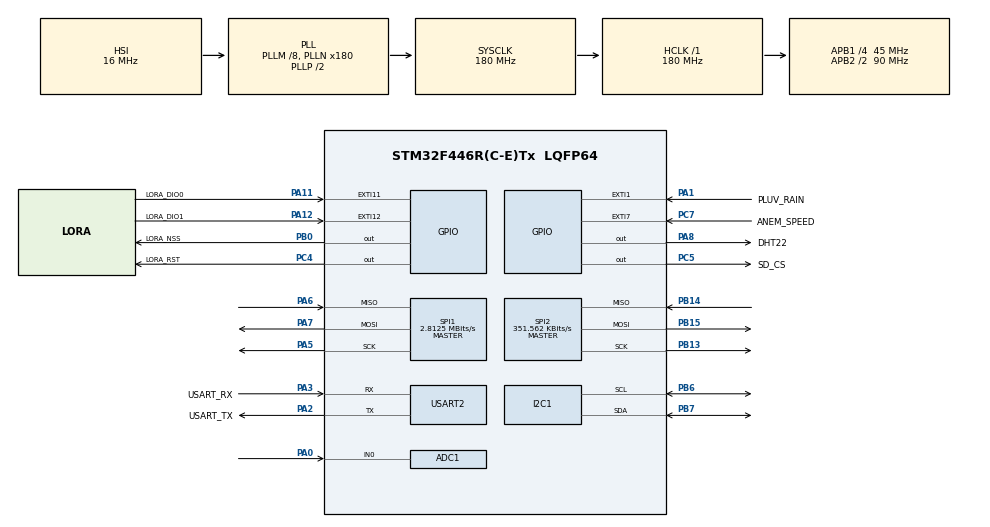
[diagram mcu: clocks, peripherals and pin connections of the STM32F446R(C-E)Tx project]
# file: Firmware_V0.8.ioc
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ADC1.Channel-0\#ChannelRegularConversion=ADC_CHANNEL_0
ADC1.NbrOfConversionFlag=1
ADC1.Rank-0\#ChannelRegularConversion=1
ADC1.SamplingTime-0\#ChannelRegularConversion=ADC_SAMPLETIME_144CYCLES
ADC1.master=1
Dma.Request0=SPI1_RX
Dma.Request1=SPI1_TX
Dma.SPI1_RX.0.Direction=DMA_PERIPH_TO_MEMORY
Dma.SPI1_RX.0.FIFOMode=DMA_FIFOMODE_DISABLE
Dma.SPI1_RX.0.Instance=DMA2_Stream0
Dma.SPI1_RX.0.MemDataAlignment=DMA_MDATAALIGN_BYTE
Dma.SPI1_RX.0.MemInc=DMA_MINC_ENABLE
Dma.SPI1_RX.0.Mode=DMA_NORMAL
Dma.SPI1_RX.0.PeriphDataAlignment=DMA_PDATAALIGN_BYTE
Dma.SPI1_RX.0.PeriphInc=DMA_PINC_DISABLE
Dma.SPI1_RX.0.Priority=DMA_PRIORITY_MEDIUM
Dma.SPI1_TX.1.Direction=DMA_MEMORY_TO_PERIPH
Dma.SPI1_TX.1.FIFOMode=DMA_FIFOMODE_DISABLE
Dma.SPI1_TX.1.Instance=DMA2_Stream3
Dma.SPI1_TX.1.MemDataAlignment=DMA_MDATAALIGN_BYTE
Dma.SPI1_TX.1.MemInc=DMA_MINC_ENABLE
Dma.SPI1_TX.1.Mode=DMA_NORMAL
Dma.SPI1_TX.1.PeriphDataAlignment=DMA_PDATAALIGN_BYTE
Dma.SPI1_TX.1.PeriphInc=DMA_PINC_DISABLE
Dma.SPI1_TX.1.Priority=DMA_PRIORITY_MEDIUM
FATFS._USE_LABEL=1
FATFS._USE_LFN=1
I2C1.I2C_Mode=I2C_Fast
Mcu.Family=STM32F4
Mcu.Name=STM32F446R(C-E)Tx
Mcu.Package=LQFP64
NVIC.DMA2_Stream0_IRQn=true\:2\:0\:true\:false\:true\:false\:true\:true
NVIC.DMA2_Stream3_IRQn=true\:2\:0\:true\:false\:true\:false\:true\:true
NVIC.EXTI15_10_IRQn=true\:2\:0\:false\:false\:true\:true\:true\:true
NVIC.EXTI1_IRQn=true\:1\:0\:true\:false\:true\:true\:true\:true
NVIC.EXTI9_5_IRQn=true\:1\:0\:true\:false\:true\:true\:true\:true
NVIC.PriorityGroup=NVIC_PRIORITYGROUP_4
NVIC.TIM6_DAC_IRQn=true\:0\:0\:true\:false\:true\:true\:true\:true
PA0-WKUP.Signal=ADCx_IN0
PA1.GPIO_Label=PLUV_RAIN
PA1.GPIO_ModeDefaultEXTI=GPIO_MODE_IT_FALLING
PA1.GPIO_PuPd=GPIO_PULLUP
PA1.Signal=GPXTI1
PA11.GPIO_Label=LORA_DIO0
PA11.Signal=GPXTI11
PA12.GPIO_Label=LORA_DIO1
PA12.Signal=GPXTI12
PA13.GPIO_Label=TMS
PA13.Mode=Serial_Wire
PA13.Signal=SYS_JTMS-SWDIO
PA14.GPIO_Label=TCK
PA14.Mode=Serial_Wire
PA14.Signal=SYS_JTCK-SWCLK
PA2.GPIO_Label=USART_TX
PA2.Mode=Asynchronous
PA2.Signal=USART2_TX
PA3.GPIO_Label=USART_RX
PA3.Mode=Asynchronous
PA3.Signal=USART2_RX
PA5.Mode=Full_Duplex_Master
PA5.Signal=SPI1_SCK
PA6.Mode=Full_Duplex_Master
PA6.Signal=SPI1_MISO
PA7.Mode=Full_Duplex_Master
PA7.Signal=SPI1_MOSI
PA8.GPIO_Label=DHT22
PA8.GPIO_Speed=GPIO_SPEED_FREQ_HIGH
PA8.PinState=GPIO_PIN_SET
PA8.Signal=GPIO_Output
PB0.GPIO_Label=LORA_NSS
PB0.GPIO_Speed=GPIO_SPEED_FREQ_VERY_HIGH
PB0.PinState=GPIO_PIN_SET
PB0.Signal=GPIO_Output
PB13.Mode=Full_Duplex_Master
PB13.Signal=SPI2_SCK
PB14.Mode=Full_Duplex_Master
PB14.Signal=SPI2_MISO
PB15.Mode=Full_Duplex_Master
PB15.Signal=SPI2_MOSI
PB3.GPIO_Label=SWO
PB3.Signal=SYS_JTDO-SWO
PB6.Mode=I2C
PB6.Signal=I2C1_SCL
PB7.Mode=I2C
PB7.Signal=I2C1_SDA
PC14-OSC32_IN.Mode=LSE-External-Oscillator
PC14-OSC32_IN.Signal=RCC_OSC32_IN
PC15-OSC32_OUT.Mode=LSE-External-Oscillator
PC15-OSC32_OUT.Signal=RCC_OSC32_OUT
PC4.GPIO_Label=LORA_RST
PC4.PinState=GPIO_PIN_SET
PC4.Signal=GPIO_Output
PC5.GPIO_Label=SD_CS
PC5.PinState=GPIO_PIN_SET
PC5.Signal=GPIO_Output
PC7.GPIO_Label=ANEM_SPEED
PC7.GPIO_ModeDefaultEXTI=GPIO_MODE_IT_FALLING
PC7.GPIO_PuPd=GPIO_PULLUP
PC7.Signal=GPXTI7
PH0-OSC_IN.Mode=HSE-External-Oscillator
PH0-OSC_IN.Signal=RCC_OSC_IN
PH1-OSC_OUT.Mode=HSE-External-Oscillator
PH1-OSC_OUT.Signal=RCC_OSC_OUT
ProjectManager.HeapSize=0x200
ProjectManager.StackSize=0x400
ProjectManager.TargetToolchain=STM32CubeIDE
RCC.48MHZClocksFreq_Value=84000000
RCC.AHBFreq_Value=180000000
RCC.APB1CLKDivider=RCC_HCLK_DIV4
RCC.APB1Freq_Value=45000000
RCC.APB1TimFreq_Value=90000000
RCC.APB2CLKDivider=RCC_HCLK_DIV2
RCC.APB2Freq_Value=90000000
RCC.APB2TimFreq_Value=180000000
RCC.CortexFreq_Value=180000000
RCC.FLatency-AdvancedSettings=FLASH_LATENCY_5
RCC.HCLKFreq_Value=180000000
RCC.HSE_VALUE=8000000
RCC.HSI_VALUE=16000000
RCC.PLLM=8
RCC.PLLN=180
RCC.SYSCLKFreq_VALUE=180000000
RCC.SYSCLKSource=RCC_SYSCLKSOURCE_PLLCLK
RCC.USBFreq_Value=180000000
RCC.VCOOutputFreq_Value=360000000
SH.ADCx_IN0.0=ADC1_IN0,IN0
SPI1.BaudRatePrescaler=SPI_BAUDRATEPRESCALER_32
SPI1.CalculateBaudRate=2.8125 MBits/s
SPI1.Direction=SPI_DIRECTION_2LINES
SPI1.Mode=SPI_MODE_MASTER
SPI1.VirtualType=VM_MASTER
SPI2.BaudRatePrescaler=SPI_BAUDRATEPRESCALER_128
SPI2.CalculateBaudRate=351.562 KBits/s
SPI2.Direction=SPI_DIRECTION_2LINES
SPI2.Mode=SPI_MODE_MASTER
SPI2.VirtualType=VM_MASTER
TIM10.Prescaler=180-1
TIM6.AutoReloadPreload=TIM_AUTORELOAD_PRELOAD_ENABLE
TIM6.Period=9999
TIM6.Prescaler=8999
USART2.VirtualMode=VM_ASYNC
VP_FATFS_VS_Generic.Mode=User_defined
VP_TIM10_VS_ClockSourceINT.Mode=Enable_Timer
VP_TIM6_VS_ClockSourceINT.Mode=Enable_Timer
board=NUCLEO-F446RE

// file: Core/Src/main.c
/* USER CODE BEGIN Header */
/**
  ******************************************************************************
  * @file           : main.c
  * @brief          : Main program body
  ******************************************************************************
  * @attention
  *
  * Copyright (c) 2026 STMicroelectronics.
  * All rights reserved.
  *
  * This software is licensed under terms that can be found in the LICENSE file
  * in the root directory of this software component.
  * If no LICENSE file comes with this software, it is provided AS-IS.
  *
  ******************************************************************************
  */
/* USER CODE END Header */
#include "main.h"
#include "fatfs.h"

/* USER CODE BEGIN Includes */
#include <stdio.h>
#include <string.h>   // Necessário para manipulação de strings (strcpy, etc.)
#include "dht22.h"
#include "bmp280.h"
#include "bh1750.h"
#include "anemometer.h"
#include "pluviometer.h"
#include "wind_vane.h"
#include "storage.h"
#include "sd_spi.h"
#include "lora_sx1276.h"
#include "lora_payload.h"
#include "station_sample.h"

extern UART_HandleTypeDef huart2;

#ifdef __GNUC__
#define PUTCHAR_PROTOTYPE int __io_putchar(int ch)
#else
#define PUTCHAR_PROTOTYPE int fputc(int ch, FILE *f)
#endif

PUTCHAR_PROTOTYPE
{
  HAL_UART_Transmit(&huart2, (uint8_t *)&ch, 1, HAL_MAX_DELAY);
  return ch;
}
/* USER CODE END Includes */

ADC_HandleTypeDef hadc1;

I2C_HandleTypeDef hi2c1;

SPI_HandleTypeDef hspi1;
SPI_HandleTypeDef hspi2;
DMA_HandleTypeDef hdma_spi1_rx;
DMA_HandleTypeDef hdma_spi1_tx;

TIM_HandleTypeDef htim6;
TIM_HandleTypeDef htim10;

UART_HandleTypeDef huart2;

/* USER CODE BEGIN PV */

/* Variáveis para armazenar as leituras (ajuste os nomes se no seu código original estiverem diferentes) */
DHT22_Handle_t dht22;
BMP280_Handle_t bmp280;
BH1750_Handle_t bh1750;

uint32_t last_dht_ms = 0;

volatile uint32_t dbg_anem_exti_hits = 0;
volatile uint32_t dbg_anem_tim_hits  = 0;

/* --- NOVAS Variáveis para a Biruta --- */
wind_vane_config_t vane_cfg;
uint16_t wind_direction_deg = 0;
char wind_direction_label[8]; // Array para guardar os textos "N", "L", "S", "O"

/* Garante o acesso ao handle do ADC configurado pelo CubeMX */
extern ADC_HandleTypeDef hadc1;

static uint16_t lora_seq = 0u;

static bool acquisition_pending = false;
static uint32_t acquisition_start_ms = 0;
static SensorHealth sensor_health[SENSOR_COUNT];
static HAL_StatusTypeDef vane_status = HAL_ERROR;
static bool adc_initialized = false;
static uint8_t last_wire_overflow = 0;

static DHT22_Status_t last_dht_status;
static BMP280_Status_t last_bmp_status;
static BH1750_Status_t last_bh_status;

static Anemometer_Data_t last_dados_vento = {0};
static Pluviometer_Data_t last_dados_chuva = {0};

/* USER CODE END PV */

void SystemClock_Config(void);
static void MX_GPIO_Init(void);
static void MX_DMA_Init(void);
static void MX_I2C1_Init(void);
static void MX_TIM10_Init(void);
static void MX_USART2_UART_Init(void);
static void MX_TIM6_Init(void);
static void MX_ADC1_Init(void);
static void MX_SPI1_Init(void);
static void MX_SPI2_Init(void);

/* USER CODE BEGIN 0 */
/**
 * @brief LUT customizada para 4 posições — valores CALCULADOS.
 *
 * Reed  | Vout calc | ADC central | Direção atribuída
 * 560Ω  |  2,115 V  |    2627     | Norte   (0°)
 * 2kΩ   |  1,100 V  |    1365     | Leste   (90°)
 * 5kΩ   |  0,550 V  |     683     | Sul     (180°)
 * 10kΩ  |  0,300 V  |     373     | Oeste   (270°)

static const WindVaneLUT_t s_vane_lut[4u] = {
    // adc_min, adc_max, degrees, label
    {   2200u,   3000u,    0u, "N" },
    {   1265u,   1465u,   90u, "L" },
    {    583u,    783u,  180u, "S" },
    {    273u,    473u,  270u, "O" }
};
*/

// @brief LUT customizada para 4 posições

static const WindVaneLUT_t s_vane_lut[16u] = {
  {   0u,  299u, 113u, "ESE" },
  { 300u,  354u,  68u, "ENE" },
  { 355u,  439u,  90u, "E"   },
  { 440u,  622u, 158u, "SSE" },
  { 623u,  859u, 135u, "SE"  },
  { 860u, 1064u, 203u, "SSW" },
  { 1065u, 1386u, 180u, "S"   },
  { 1387u, 1734u,  23u, "NNE" },
  { 1735u, 2121u,  45u, "NE"  },
  { 2122u, 2459u, 248u, "WSW" },
  { 2460u, 2665u, 225u, "SW"  },
  { 2666u, 2977u, 338u, "NNW" },
  { 2978u, 3226u,   0u, "N"   },
  { 3227u, 3429u, 293u, "WNW" },
  { 3430u, 3664u, 315u, "NW"  },
  { 3665u, 4095u, 270u, "W"   }
};

/**
 * @brief Desabilita a biruta quando a inicialização do ADC falha.
 *
 * Os demais subsistemas da estação permanecem disponíveis. A leitura da
 * biruta será marcada como indisponível por App_WindVane_Init().
 */
static void appRegistrarFalhaAdc(void)
{
    adc_initialized = false;
    vane_status = HAL_ERROR;
}

static void App_WindVane_Init(void)
{
    vane_cfg.hadc               = &hadc1;
    vane_cfg.channel            = ADC_CHANNEL_0;
    vane_cfg.sampling_time      = ADC_SAMPLETIME_144CYCLES;
    vane_cfg.num_samples        = 8u;
    vane_cfg.sample_interval_ms = 5u;
    vane_cfg.north_offset_deg   = 0;
    vane_cfg.lut                = s_vane_lut; // ou WIND_VANE_DEFAULT_LUT para a definida no driver
    //vane_cfg.lut_size           = 4u;
    vane_cfg.lut_size           = 16u;

    vane_status = adc_initialized ? Wind_Vane_Init(&vane_cfg) : HAL_ERROR;
    printf("[BIRUTA] %s\r\n", vane_status == HAL_OK ? "ADC configurado; aguardando leitura" : "Falha de inicializacao do ADC");
}

static SensorReason App_DhtReason(DHT22_Status_t status)
{
    switch (status) {
        case DHT22_OK: return SENSOR_OK;
        case DHT22_ERR_TIMEOUT: return SENSOR_TIMEOUT;
        case DHT22_ERR_CHECKSUM: return SENSOR_CHECKSUM;
        case DHT22_ERR_TIMER: return SENSOR_TIMER;
        default: return SENSOR_RANGE;
    }
}
static SensorReason App_BmpReason(BMP280_Status_t status)
{
    switch (status) {
        case BMP280_OK: return SENSOR_OK;
        case BMP280_ERR_BUSY: return SENSOR_TIMEOUT;
        case BMP280_ERR_CONFIG: return SENSOR_CONFIG;
        case BMP280_ERR_CALIBRATION: return SENSOR_CALIBRATION;
        case BMP280_ERR_RANGE: return SENSOR_RANGE;
        default: return SENSOR_IO;
    }
}
static SensorReason App_BhReason(BH1750_Status_t status)
{
    switch (status) {
        case BH1750_OK: return SENSOR_OK;
        case BH1750_ERR_NOT_RDY: return SENSOR_TIMEOUT;
        case BH1750_ERR_CONFIG: return SENSOR_CONFIG;
        case BH1750_ERR_SATURATED: return SENSOR_SATURATED;
        case BH1750_ERR_RANGE: return SENSOR_RANGE;
        default: return SENSOR_IO;
    }
}
static float App_Value(const StationSample *s, SensorId id, float value)
{
    return s->reason[id] == SENSOR_OK ? value : -999.0f;
}
static void App_FinishAcquisition(uint32_t now, HAL_StatusTypeDef wind_status)
{
    StationSample sample = {
        .timestamp_ms = acquisition_start_ms,
        .reason = {
            App_DhtReason(last_dht_status), App_BmpReason(last_bmp_status),
            App_BhReason(last_bh_status),
            vane_status == HAL_OK ? SENSOR_OK : (vane_status == HAL_TIMEOUT ? SENSOR_TIMEOUT : SENSOR_IO),
            last_dados_vento.valid ? SENSOR_OK : (wind_status == HAL_TIMEOUT ? SENSOR_TIMEOUT : SENSOR_TIMER),
            last_dados_chuva.valid ? SENSOR_OK : SENSOR_RANGE
        },
        .temperature = dht22.temperature, .humidity = dht22.humidity,
        .pressure = bmp280.pressure, .bmp_temperature = bmp280.temperature, .altitude = bmp280.altitude,
        .illuminance = bh1750.illuminance, .irradiance = bh1750.irradiance,
        .wind_speed = last_dados_vento.speed_ms, .wind_dir_deg = wind_direction_deg,
        .rain_mm = last_dados_chuva.rain_mm
    };
    StationSample_Validate(&sample);
    FRESULT sd_result = FR_OK;
    for (unsigned i = 0; i < SENSOR_COUNT; ++i) {
        SensorHealth *h = &sensor_health[i];
        HealthEvent event = SensorHealth_Update(h, sample.reason[i], now);
        if (event == HEALTH_NONE) continue;
        printf("[SAUDE] %s %s | motivo=%s | falhas=%u | tem_ultima=%u | idade_ms=%lu\r\n",
            Sensor_Name((SensorId)i), Sensor_Event(event), Sensor_Reason(h->reason),
            h->consecutive_failures, h->has_valid,
            (unsigned long)(h->has_valid ? now - h->last_valid_ms : 0));
        if (Storage_IsReady()) {
            FRESULT res = Storage_AppendSensorHealth(now, (SensorId)i, h, event);
            if (res != FR_OK) sd_result = res;
        }
    }
    if (sample.reason[SENSOR_BMP] == SENSOR_IO && sample.reason[SENSOR_BH] == SENSOR_IO &&
        (sensor_health[SENSOR_BMP].consecutive_failures == 1 || sensor_health[SENSOR_BH].consecutive_failures == 1))
        printf("[I2C1] BMP280 e BH1750 falharam: verificar tambem barramento/alimentacao comuns.\r\n");

    SensorSample_t sd_sample = {
        .timestamp_ms = sample.timestamp_ms,
        .temperature = App_Value(&sample, SENSOR_DHT, sample.temperature),
        .humidity = App_Value(&sample, SENSOR_DHT, sample.humidity),
        .pressure = App_Value(&sample, SENSOR_BMP, sample.pressure),
        .irradiance = App_Value(&sample, SENSOR_BH, sample.irradiance),
        .wind_speed = App_Value(&sample, SENSOR_ANEM, sample.wind_speed),
        .wind_dir_deg = App_Value(&sample, SENSOR_VANE, sample.wind_dir_deg),
        .rain_mm = App_Value(&sample, SENSOR_RAIN, sample.rain_mm)
    };
    if (Storage_IsReady()) {
        FRESULT res = Storage_AppendSample(&sd_sample);
        if (res != FR_OK) sd_result = res;
    }
    LoRaPayload_t packet;
    uint8_t overflow = StationSample_Payload(&sample, lora_seq++, &packet);
    if (overflow != last_wire_overflow) {
        printf("[LORA] Limite do pacote legado: mascara=%02X. Campos sem representacao usam sentinela; dados locais preservados.\r\n", overflow);
        last_wire_overflow = overflow;
    }
    bool tx_ok = SX1276_Transmit((const uint8_t *)&packet, sizeof(packet));
    printf("[LORA] %s | seq=%u | len=%u | motivo=%s\r\n",
        tx_ok ? "TX concluida pelo radio" : "Falha local", packet.seq,
        (unsigned)sizeof(packet), SX1276_LastError());
    printf("\r\n===== DADOS DA ESTACAO | t=%lu ms =====\r\n", (unsigned long)sample.timestamp_ms);
    if (sample.reason[SENSOR_DHT] == SENSOR_OK)
        printf("Temp: %.1f C | Umid: %.1f %%\r\n", sample.temperature, sample.humidity);
    else printf("Temp/Umid: indisponiveis\r\n");
    if (sample.reason[SENSOR_BMP] == SENSOR_OK)
        printf("Pres: %.1f hPa | Alt: %.1f m\r\n", sample.pressure, sample.altitude);
    else printf("Pressao/Altitude: indisponiveis\r\n");
    if (sample.reason[SENSOR_BH] == SENSOR_OK)
        printf("Ilum: %.1f lux | Irrad: %.2f W/m2\r\n", sample.illuminance, sample.irradiance);
    else printf("Iluminancia/Irradiancia: indisponiveis\r\n");
    if (sample.reason[SENSOR_ANEM] == SENSOR_OK)
        printf("Vento: %.2f m/s\r\n", sample.wind_speed);
    else printf("Velocidade do vento: indisponivel\r\n");
    if (sample.reason[SENSOR_VANE] == SENSOR_OK) {
        Wind_Vane_GetLabel(sample.wind_dir_deg, wind_direction_label, sizeof(wind_direction_label));
        printf("Direcao: %s (%u graus)\r\n", wind_direction_label, sample.wind_dir_deg);
    } else printf("Direcao: indisponivel\r\n");
    if (sample.reason[SENSOR_RAIN] == SENSOR_OK) printf("Chuva acumulada: %.2f mm\r\n", sample.rain_mm);
    else printf("Chuva acumulada: indisponivel\r\n");
    uint32_t accepted, rejected, last_pulse, rain_rejected, last_tip;
    anemometer_get_diagnostics(&accepted, &rejected, &last_pulse);
    pluviometer_get_diagnostics(&rain_rejected, &last_tip);
    printf("[PULSOS] Vento janela: aceitos=%lu rejeitados=%lu ultimo_ms=%lu | Chuva total: aceitos=%lu rejeitados=%lu ultimo_ms=%lu\r\n",
        (unsigned long)accepted, (unsigned long)rejected, (unsigned long)last_pulse,
        (unsigned long)last_dados_chuva.tip_count, (unsigned long)rain_rejected, (unsigned long)last_tip);
    printf("SD: %s (erro=%d)\r\n", Storage_IsReady() ? (sd_result == FR_OK ? "OK" : "ERRO") : "INDISPONIVEL",
        (int)(Storage_IsReady() ? sd_result : Storage_GetLastError()));
    printf("==========================================\r\n");
}

/* USER CODE END 0 */

int main(void)
{

  /* MCU Configuration--------------------------------------------------------*/

  /* Reset of all peripherals, Initializes the Flash interface and the Systick. */
  HAL_Init();

  /* Configure the system clock */
  SystemClock_Config();

  /* Initialize all configured peripherals */
  MX_GPIO_Init();
  MX_DMA_Init();
  MX_I2C1_Init();
  MX_TIM10_Init();
  MX_USART2_UART_Init();
  MX_TIM6_Init();
  MX_ADC1_Init();
  MX_SPI1_Init();
  MX_FATFS_Init();
  MX_SPI2_Init();
  /* USER CODE BEGIN 2 */
  /*
  * MUDANÇAS em relação à versão anterior:
   *  1. SD_Deselect() inicializa apenas o CS do SD — correto.
   *  2. LORA_NSS é posto em HIGH explicitamente antes de qualquer
   *     chamada LoRa (boa prática, evita NSS flutuante no boot).
   *  3. Ordem de chamada: MX_SPI2_Init() já foi chamado antes
   *     (pelo CubeMX em main), então hspi2 está pronto aqui.
   *  4. Diagnóstico estendido: se 0xFF → imprime dica de hardware.
   * ============================================================ */

  /* ── Estado inicial dos barramentos ──────────────────────────────────────
   * SPI1 (SD)  : CS = HIGH (SD_Deselect)
   * SPI2 (LoRa): NSS = HIGH (escrita direta no pino)
   * Garante que nenhum periférico está selecionado durante o boot.
   */
  /* Estado inicial dos barramentos */
  SD_Deselect();
  HAL_GPIO_WritePin(LORA_NSS_GPIO_Port, LORA_NSS_Pin, GPIO_PIN_SET);

  /* ── Verificação do chip ────────────────────────────────────────────────── */
  uint8_t lora_version = 0x00u;

  SX1276_Reset(); /* Reset somente no boot. Sondagens posteriores nao resetam. */
  if (!SX1276_CheckVersion(&lora_version))
  {
      printf("[LORA] FALHA. RegVersion = 0x%02X\r\n", lora_version);
      if (lora_version == 0xFFu)
          printf("[LORA] DICA: 0xFF pode indicar MISO em pull-up ou SPI aberto.\r\n");
  }
  else
  {
      printf("[LORA] SX1276 OK. RegVersion = 0x%02X\r\n", lora_version);

      SX1276_Config_t lora_cfg = SX1276_DEFAULT_CONFIG;
      bool lora_init_ok = SX1276_Init(&lora_cfg);

      if (lora_init_ok)
          printf("[LORA] Init OK. Pronto para TX.\r\n");
      else
          printf("[LORA] Init FALHOU: %s. Reiniciar apos corrigir a causa.\r\n", SX1276_LastError());
  }

  /* ── Sensores ───────────────────────────────────────────────────────────── */
  printf("\r\n=== Inicializando sensores ===\r\n");

  HAL_StatusTypeDef dht_timer_status = HAL_TIM_Base_Start(&htim10);
  DHT22_Init(&dht22, DHT22_GPIO_Port, DHT22_Pin, &htim10);
  printf("[DHT22] %s\r\n", dht_timer_status == HAL_OK ? "Configurado; aguardando primeira leitura" : "Falha ao iniciar TIM10");

  BMP280_Config_t bmp_cfg = BMP280_DEFAULT_CONFIG;
  BMP280_Status_t bmp_st  = BMP280_Init(&bmp280, &hi2c1, BMP280_ADDR_SDO_LOW, &bmp_cfg);
  if (bmp_st == BMP280_OK) printf("[BMP280] OK - I2C1 0x76\r\n");
  else printf("[BMP280] FALHA: %s\r\n", BMP280_StatusStr(bmp_st));

  BH1750_Status_t bh_st = BH1750_Init(&bh1750, &hi2c1,
                                        BH1750_ADDR_LOW, BH1750_MODE_ONCE_H_RES);
  if (bh_st == BH1750_OK) printf("[BH1750] OK - I2C1 0x23\r\n");
  else printf("[BH1750] FALHA: %s\r\n", BH1750_StatusStr(bh_st));

  anemometer_init();
  printf("[ANEM] OK - EXTI PC7 + TIM6\r\n");

  pluviometer_init();
  printf("[PLUV] OK - EXTI PA1\r\n");

  App_WindVane_Init();
  printf("[DIAG] Zero pulsos e direcao constante nao comprovam conexao fisica.\r\n");

  (void)Storage_Init();
  if (Storage_IsReady())
      printf("[SD] OK - Cartao montado. Log em /logs/data.csv\r\n");
  else
      printf("[SD] AVISO - Cartao/SPI indisponivel. Sensores e LoRa continuam ativos.\r\n");

  last_dht_status = DHT22_ERR_TIMEOUT;
  last_bmp_status = bmp_st;
  last_bh_status  = bh_st;
  last_dht_ms     = HAL_GetTick();

  printf("Sistema Inicializado. A iniciar leituras...\r\n");
  /* USER CODE END 2 */

  /* Infinite loop */
  /* USER CODE BEGIN WHILE */
  while (1)
  {
      uint32_t now = HAL_GetTick();
      if (!acquisition_pending) Storage_Service(now);
      if (!acquisition_pending && (uint32_t)(now - last_dht_ms) >= 5000u) {
          acquisition_pending = true;
          acquisition_start_ms = now;
          /* Driver retains start errors for service(); no cycle is skipped. */
          (void)anemometer_start_sampling(&htim6);
          last_dht_status = DHT22_Read(&dht22);
          /* Init/configuration failures require a validated initialization.
           * Transient communication errors are retried on the next cycle. */
          if (bmp280.initialized) last_bmp_status = BMP280_Read(&bmp280);
          if (bh1750.initialized) last_bh_status = BH1750_Read(&bh1750);
          vane_status = Wind_Vane_Read(&wind_direction_deg);
      }
      if (acquisition_pending) {
          now = HAL_GetTick(); /* Sensor reads above include bounded waits. */
          HAL_StatusTypeDef wind_status = anemometer_service(&htim6, now);
          if (wind_status != HAL_BUSY) {
              anemometer_calculate(ANEM_SAMPLE_WINDOW_MS, &last_dados_vento);
              pluviometer_read(&last_dados_chuva);
              App_FinishAcquisition(now, wind_status);
              acquisition_pending = false;
              last_dht_ms = HAL_GetTick();
          }
      }

    /* USER CODE END WHILE */

  }
}

void SystemClock_Config(void)
{
  RCC_OscInitTypeDef RCC_OscInitStruct = {0};
  RCC_ClkInitTypeDef RCC_ClkInitStruct = {0};

  /** Configure the main internal regulator output voltage
  */
  __HAL_RCC_PWR_CLK_ENABLE();
  __HAL_PWR_VOLTAGESCALING_CONFIG(PWR_REGULATOR_VOLTAGE_SCALE1);

  /** Initializes the RCC Oscillators according to the specified parameters
  * in the RCC_OscInitTypeDef structure.
  */
  RCC_OscInitStruct.OscillatorType = RCC_OSCILLATORTYPE_HSI;
  RCC_OscInitStruct.HSIState = RCC_HSI_ON;
  RCC_OscInitStruct.HSICalibrationValue = RCC_HSICALIBRATION_DEFAULT;
  RCC_OscInitStruct.PLL.PLLState = RCC_PLL_ON;
  RCC_OscInitStruct.PLL.PLLSource = RCC_PLLSOURCE_HSI;
  RCC_OscInitStruct.PLL.PLLM = 8;
  RCC_OscInitStruct.PLL.PLLN = 180;
  RCC_OscInitStruct.PLL.PLLP = RCC_PLLP_DIV2;
  RCC_OscInitStruct.PLL.PLLQ = 2;
  RCC_OscInitStruct.PLL.PLLR = 2;
  if (HAL_RCC_OscConfig(&RCC_OscInitStruct) != HAL_OK)
  {
    Error_Handler();
  }

  /** Activate the Over-Drive mode
  */
  if (HAL_PWREx_EnableOverDrive() != HAL_OK)
  {
    Error_Handler();
  }

  /** Initializes the CPU, AHB and APB buses clocks
  */
  RCC_ClkInitStruct.ClockType = RCC_CLOCKTYPE_HCLK|RCC_CLOCKTYPE_SYSCLK
                              |RCC_CLOCKTYPE_PCLK1|RCC_CLOCKTYPE_PCLK2;
  RCC_ClkInitStruct.SYSCLKSource = RCC_SYSCLKSOURCE_PLLCLK;
  RCC_ClkInitStruct.AHBCLKDivider = RCC_SYSCLK_DIV1;
  RCC_ClkInitStruct.APB1CLKDivider = RCC_HCLK_DIV4;
  RCC_ClkInitStruct.APB2CLKDivider = RCC_HCLK_DIV2;

  if (HAL_RCC_ClockConfig(&RCC_ClkInitStruct, FLASH_LATENCY_5) != HAL_OK)
  {
    Error_Handler();
  }
}

static void MX_ADC1_Init(void)
{

  ADC_ChannelConfTypeDef sConfig = {0};

  /** Configure the global features of the ADC (Clock, Resolution, Data Alignment and number of conversion)
  */
  hadc1.Instance = ADC1;
  hadc1.Init.ClockPrescaler = ADC_CLOCK_SYNC_PCLK_DIV4;
  hadc1.Init.Resolution = ADC_RESOLUTION_12B;
  hadc1.Init.ScanConvMode = DISABLE;
  hadc1.Init.ContinuousConvMode = DISABLE;
  hadc1.Init.DiscontinuousConvMode = DISABLE;
  hadc1.Init.ExternalTrigConvEdge = ADC_EXTERNALTRIGCONVEDGE_NONE;
  hadc1.Init.ExternalTrigConv = ADC_SOFTWARE_START;
  hadc1.Init.DataAlign = ADC_DATAALIGN_RIGHT;
  hadc1.Init.NbrOfConversion = 1;
  hadc1.Init.DMAContinuousRequests = DISABLE;
  hadc1.Init.EOCSelection = ADC_EOC_SINGLE_CONV;
  if (HAL_ADC_Init(&hadc1) != HAL_OK)
  {
    appRegistrarFalhaAdc();
    return;
  }

  /** Configure for the selected ADC regular channel its corresponding rank in the sequencer and its sample time.
  */
  sConfig.Channel = ADC_CHANNEL_0;
  sConfig.Rank = 1;
  sConfig.SamplingTime = ADC_SAMPLETIME_144CYCLES;
  if (HAL_ADC_ConfigChannel(&hadc1, &sConfig) != HAL_OK)
  {
    appRegistrarFalhaAdc();
    return;
  }
  /* USER CODE BEGIN ADC1_Init 2 */
  adc_initialized = true;

  /* USER CODE END ADC1_Init 2 */

}

static void MX_I2C1_Init(void)
{

  hi2c1.Instance = I2C1;
  hi2c1.Init.ClockSpeed = 400000;
  hi2c1.Init.DutyCycle = I2C_DUTYCYCLE_2;
  hi2c1.Init.OwnAddress1 = 0;
  hi2c1.Init.AddressingMode = I2C_ADDRESSINGMODE_7BIT;
  hi2c1.Init.DualAddressMode = I2C_DUALADDRESS_DISABLE;
  hi2c1.Init.OwnAddress2 = 0;
  hi2c1.Init.GeneralCallMode = I2C_GENERALCALL_DISABLE;
  hi2c1.Init.NoStretchMode = I2C_NOSTRETCH_DISABLE;
  if (HAL_I2C_Init(&hi2c1) != HAL_OK)
  {
    Error_Handler();
  }

}

static void MX_SPI1_Init(void)
{

  /* SPI1 parameter configuration*/
  hspi1.Instance = SPI1;
  hspi1.Init.Mode = SPI_MODE_MASTER;
  hspi1.Init.Direction = SPI_DIRECTION_2LINES;
  hspi1.Init.DataSize = SPI_DATASIZE_8BIT;
  hspi1.Init.CLKPolarity = SPI_POLARITY_LOW;
  hspi1.Init.CLKPhase = SPI_PHASE_1EDGE;
  hspi1.Init.NSS = SPI_NSS_SOFT;
  hspi1.Init.BaudRatePrescaler = SPI_BAUDRATEPRESCALER_32;
  hspi1.Init.FirstBit = SPI_FIRSTBIT_MSB;
  hspi1.Init.TIMode = SPI_TIMODE_DISABLE;
  hspi1.Init.CRCCalculation = SPI_CRCCALCULATION_DISABLE;
  hspi1.Init.CRCPolynomial = 10;
  if (HAL_SPI_Init(&hspi1) != HAL_OK)
  {
    Error_Handler();
  }

}

static void MX_SPI2_Init(void)
{

  /* SPI2 parameter configuration*/
  hspi2.Instance = SPI2;
  hspi2.Init.Mode = SPI_MODE_MASTER;
  hspi2.Init.Direction = SPI_DIRECTION_2LINES;
  hspi2.Init.DataSize = SPI_DATASIZE_8BIT;
  hspi2.Init.CLKPolarity = SPI_POLARITY_LOW;
  hspi2.Init.CLKPhase = SPI_PHASE_1EDGE;
  hspi2.Init.NSS = SPI_NSS_SOFT;
  hspi2.Init.BaudRatePrescaler = SPI_BAUDRATEPRESCALER_128;
  hspi2.Init.FirstBit = SPI_FIRSTBIT_MSB;
  hspi2.Init.TIMode = SPI_TIMODE_DISABLE;
  hspi2.Init.CRCCalculation = SPI_CRCCALCULATION_DISABLE;
  hspi2.Init.CRCPolynomial = 10;
  if (HAL_SPI_Init(&hspi2) != HAL_OK)
  {
    Error_Handler();
  }

}

static void MX_TIM6_Init(void)
{

  TIM_MasterConfigTypeDef sMasterConfig = {0};

  htim6.Instance = TIM6;
  htim6.Init.Prescaler = 8999;
  htim6.Init.CounterMode = TIM_COUNTERMODE_UP;
  htim6.Init.Period = 9999;
  htim6.Init.AutoReloadPreload = TIM_AUTORELOAD_PRELOAD_ENABLE;
  if (HAL_TIM_Base_Init(&htim6) != HAL_OK)
  {
    Error_Handler();
  }
  sMasterConfig.MasterOutputTrigger = TIM_TRGO_RESET;
  sMasterConfig.MasterSlaveMode = TIM_MASTERSLAVEMODE_DISABLE;
  if (HAL_TIMEx_MasterConfigSynchronization(&htim6, &sMasterConfig) != HAL_OK)
  {
    Error_Handler();
  }

}

static void MX_TIM10_Init(void)
{

  htim10.Instance = TIM10;
  htim10.Init.Prescaler = 180-1;
  htim10.Init.CounterMode = TIM_COUNTERMODE_UP;
  htim10.Init.Period = 65535;
  htim10.Init.ClockDivision = TIM_CLOCKDIVISION_DIV1;
  htim10.Init.AutoReloadPreload = TIM_AUTORELOAD_PRELOAD_DISABLE;
  if (HAL_TIM_Base_Init(&htim10) != HAL_OK)
  {
    Error_Handler();
  }

}

static void MX_USART2_UART_Init(void)
{

  huart2.Instance = USART2;
  huart2.Init.BaudRate = 115200;
  huart2.Init.WordLength = UART_WORDLENGTH_8B;
  huart2.Init.StopBits = UART_STOPBITS_1;
  huart2.Init.Parity = UART_PARITY_NONE;
  huart2.Init.Mode = UART_MODE_TX_RX;
  huart2.Init.HwFlowCtl = UART_HWCONTROL_NONE;
  huart2.Init.OverSampling = UART_OVERSAMPLING_16;
  if (HAL_UART_Init(&huart2) != HAL_OK)
  {
    Error_Handler();
  }

}

static void MX_DMA_Init(void)
{

  /* DMA controller clock enable */
  __HAL_RCC_DMA2_CLK_ENABLE();

  /* DMA interrupt init */
  /* DMA2_Stream0_IRQn interrupt configuration */
  HAL_NVIC_SetPriority(DMA2_Stream0_IRQn, 2, 0);
  HAL_NVIC_EnableIRQ(DMA2_Stream0_IRQn);
  /* DMA2_Stream3_IRQn interrupt configuration */
  HAL_NVIC_SetPriority(DMA2_Stream3_IRQn, 2, 0);
  HAL_NVIC_EnableIRQ(DMA2_Stream3_IRQn);

}

static void MX_GPIO_Init(void)
{
  GPIO_InitTypeDef GPIO_InitStruct = {0};

  /* GPIO Ports Clock Enable */
  __HAL_RCC_GPIOC_CLK_ENABLE();
  __HAL_RCC_GPIOH_CLK_ENABLE();
  __HAL_RCC_GPIOA_CLK_ENABLE();
  __HAL_RCC_GPIOB_CLK_ENABLE();

  /*Configure GPIO pin Output Level */
  HAL_GPIO_WritePin(GPIOC, LORA_RST_Pin|SD_CS_Pin, GPIO_PIN_SET);

  /*Configure GPIO pin Output Level */
  HAL_GPIO_WritePin(LORA_NSS_GPIO_Port, LORA_NSS_Pin, GPIO_PIN_SET);

  /*Configure GPIO pin Output Level */
  HAL_GPIO_WritePin(DHT22_GPIO_Port, DHT22_Pin, GPIO_PIN_SET);

  /*Configure GPIO pin : PLUV_RAIN_Pin */
  GPIO_InitStruct.Pin = PLUV_RAIN_Pin;
  GPIO_InitStruct.Mode = GPIO_MODE_IT_FALLING;
  GPIO_InitStruct.Pull = GPIO_PULLUP;
  HAL_GPIO_Init(PLUV_RAIN_GPIO_Port, &GPIO_InitStruct);

  /*Configure GPIO pins : LORA_RST_Pin SD_CS_Pin */
  GPIO_InitStruct.Pin = LORA_RST_Pin|SD_CS_Pin;
  GPIO_InitStruct.Mode = GPIO_MODE_OUTPUT_PP;
  GPIO_InitStruct.Pull = GPIO_NOPULL;
  GPIO_InitStruct.Speed = GPIO_SPEED_FREQ_LOW;
  HAL_GPIO_Init(GPIOC, &GPIO_InitStruct);

  /*Configure GPIO pin : LORA_NSS_Pin */
  GPIO_InitStruct.Pin = LORA_NSS_Pin;
  GPIO_InitStruct.Mode = GPIO_MODE_OUTPUT_PP;
  GPIO_InitStruct.Pull = GPIO_NOPULL;
  GPIO_InitStruct.Speed = GPIO_SPEED_FREQ_VERY_HIGH;
  HAL_GPIO_Init(LORA_NSS_GPIO_Port, &GPIO_InitStruct);

  /*Configure GPIO pin : ANEM_SPEED_Pin */
  GPIO_InitStruct.Pin = ANEM_SPEED_Pin;
  GPIO_InitStruct.Mode = GPIO_MODE_IT_FALLING;
  GPIO_InitStruct.Pull = GPIO_PULLUP;
  HAL_GPIO_Init(ANEM_SPEED_GPIO_Port, &GPIO_InitStruct);

  /*Configure GPIO pin : DHT22_Pin */
  GPIO_InitStruct.Pin = DHT22_Pin;
  GPIO_InitStruct.Mode = GPIO_MODE_OUTPUT_PP;
  GPIO_InitStruct.Pull = GPIO_NOPULL;
  GPIO_InitStruct.Speed = GPIO_SPEED_FREQ_HIGH;
  HAL_GPIO_Init(DHT22_GPIO_Port, &GPIO_InitStruct);

  /*Configure GPIO pins : LORA_DIO0_Pin LORA_DIO1_Pin */
  GPIO_InitStruct.Pin = LORA_DIO0_Pin|LORA_DIO1_Pin;
  GPIO_InitStruct.Mode = GPIO_MODE_IT_RISING;
  GPIO_InitStruct.Pull = GPIO_NOPULL;
  HAL_GPIO_Init(GPIOA, &GPIO_InitStruct);

  /* EXTI interrupt init*/
  HAL_NVIC_SetPriority(EXTI1_IRQn, 1, 0);
  HAL_NVIC_EnableIRQ(EXTI1_IRQn);

  HAL_NVIC_SetPriority(EXTI9_5_IRQn, 1, 0);
  HAL_NVIC_EnableIRQ(EXTI9_5_IRQn);

  HAL_NVIC_SetPriority(EXTI15_10_IRQn, 2, 0);
  HAL_NVIC_EnableIRQ(EXTI15_10_IRQn);

}

/* USER CODE BEGIN 4 */
void HAL_TIM_PeriodElapsedCallback(TIM_HandleTypeDef *htim)
{
  if (htim->Instance == TIM6)
  {
	  dbg_anem_tim_hits++;
	  anemometer_stop_sampling(htim);
  }
}

void HAL_GPIO_EXTI_Callback(uint16_t GPIO_Pin)
{
  if (GPIO_Pin == ANEM_SPEED_Pin)
  {
	dbg_anem_exti_hits++;
	anemometer_pulse_callback();
  }

  if (GPIO_Pin == PLUV_RAIN_Pin)
  {
    pluviometer_tip_callback();
  }
}
/* USER CODE END 4 */

void Error_Handler(void)
{
  __disable_irq();
  while (1)
  {
  }
}
